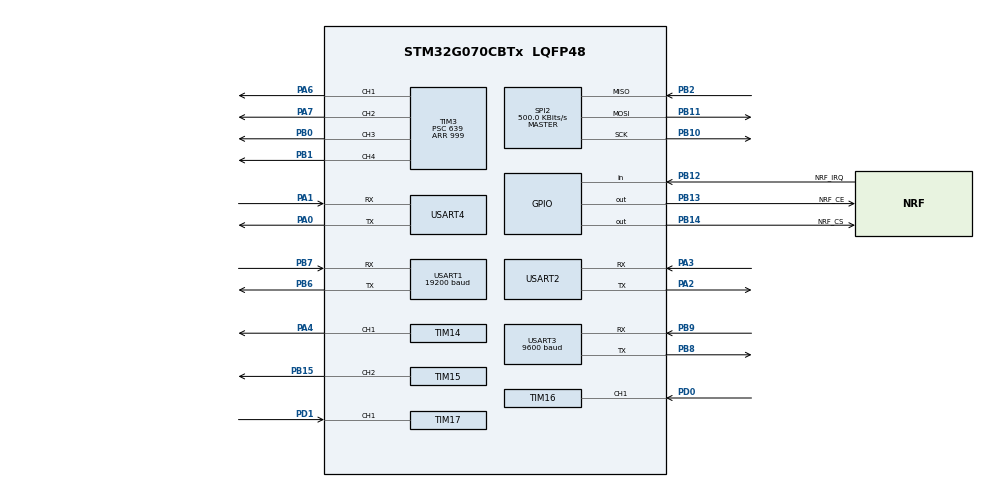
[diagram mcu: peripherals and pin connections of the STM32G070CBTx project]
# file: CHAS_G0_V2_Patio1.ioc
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Mcu.Family=STM32G0
Mcu.Name=STM32G070CBTx
Mcu.Package=LQFP48
NVIC.RTC_TAMP_IRQn=true\:0\:0\:false\:false\:true\:true\:true\:true
NVIC.TIM14_IRQn=true\:2\:0\:true\:false\:true\:true\:true\:true
NVIC.TIM15_IRQn=true\:1\:0\:true\:false\:true\:true\:true\:true
NVIC.TIM16_IRQn=true\:1\:0\:true\:false\:true\:true\:true\:true
NVIC.TIM17_IRQn=true\:1\:0\:true\:false\:true\:true\:true\:true
NVIC.TIM6_IRQn=true\:0\:0\:false\:false\:true\:true\:true\:true
NVIC.TIM7_IRQn=true\:0\:0\:false\:false\:true\:true\:true\:true
NVIC.USART1_IRQn=true\:0\:0\:false\:false\:true\:true\:true\:true
NVIC.USART2_IRQn=true\:0\:0\:false\:false\:true\:true\:true\:true
NVIC.USART3_4_IRQn=true\:0\:0\:false\:false\:true\:true\:true\:true
PA0.Mode=Asynchronous
PA0.Signal=USART4_TX
PA1.Mode=Asynchronous
PA1.Signal=USART4_RX
PA13.Mode=Serial_Wire
PA13.Signal=SYS_SWDIO
PA14-BOOT0.Mode=Serial_Wire
PA14-BOOT0.Signal=SYS_SWCLK
PA2.Mode=Asynchronous
PA2.Signal=USART2_TX
PA3.Mode=Asynchronous
PA3.Signal=USART2_RX
PA4.Signal=S_TIM14_CH1
PA6.Signal=S_TIM3_CH1
PA7.Signal=S_TIM3_CH2
PB0.Signal=S_TIM3_CH3
PB1.Signal=S_TIM3_CH4
PB10.Mode=Full_Duplex_Master
PB10.Signal=SPI2_SCK
PB11.Mode=Full_Duplex_Master
PB11.Signal=SPI2_MOSI
PB12.GPIO_Label=NRF_IRQ
PB12.GPIO_PuPd=GPIO_PULLUP
PB12.Signal=GPIO_Input
PB13.GPIO_Label=NRF_CE
PB13.GPIO_PuPd=GPIO_PULLUP
PB13.GPIO_Speed=GPIO_SPEED_FREQ_MEDIUM
PB13.Signal=GPIO_Output
PB14.GPIO_Label=NRF_CS
PB14.GPIO_PuPd=GPIO_PULLUP
PB14.GPIO_Speed=GPIO_SPEED_FREQ_MEDIUM
PB14.Signal=GPIO_Output
PB15.Signal=S_TIM15_CH2
PB2.Mode=Full_Duplex_Master
PB2.Signal=SPI2_MISO
PB6.Mode=Asynchronous
PB6.Signal=USART1_TX
PB7.Mode=Asynchronous
PB7.Signal=USART1_RX
PB8.Mode=Asynchronous
PB8.Signal=USART3_TX
PB9.Mode=Asynchronous
PB9.Signal=USART3_RX
PC14-OSC32_IN\ (PC14).Mode=LSE-External-Oscillator
PC14-OSC32_IN\ (PC14).Signal=RCC_OSC32_IN
PC15-OSC32_OUT\ (PC15).Mode=LSE-External-Oscillator
PC15-OSC32_OUT\ (PC15).Signal=RCC_OSC32_OUT
PD0.Signal=S_TIM16_CH1
PD1.Signal=S_TIM17_CH1
PF0-OSC_IN\ (PF0).Mode=HSE-External-Oscillator
PF0-OSC_IN\ (PF0).Signal=RCC_OSC_IN
PF1-OSC_OUT\ (PF1).Mode=HSE-External-Oscillator
PF1-OSC_OUT\ (PF1).Signal=RCC_OSC_OUT
ProjectManager.HeapSize=0x200
ProjectManager.StackSize=0x400
ProjectManager.TargetToolchain=MDK-ARM V5.32
RCC.ADCFreq_Value=64000000
RCC.AHBFreq_Value=64000000
RCC.CortexFreq_Value=64000000
RCC.EXTERNAL_CLOCK_VALUE=48000
RCC.HCLKFreq_Value=64000000
RCC.HSE_VALUE=8000000
RCC.HSI_VALUE=16000000
RCC.PLLN=16
RCC.PLLSourceVirtual=RCC_PLLSOURCE_HSE
RCC.RTCClockSelection=RCC_RTCCLKSOURCE_LSE
RCC.SYSCLKFreq_VALUE=64000000
RCC.SYSCLKSource=RCC_SYSCLKSOURCE_PLLCLK
RCC.VCOOutputFreq_Value=128000000
RTC.Hours=5
RTC.Month=RTC_MONTH_JUNE
RTC.WakeUpClock-WakeUp=RTC_WAKEUPCLOCK_RTCCLK_DIV16
RTC.WakeUpCounter-WakeUp=512
RTC.WeekDay=RTC_WEEKDAY_TUESDAY
RTC.Year=22
SH.S_TIM14_CH1.0=TIM14_CH1,PWM Generation1 CH1
SH.S_TIM15_CH2.0=TIM15_CH2,PWM Generation2 CH2
SH.S_TIM16_CH1.0=TIM16_CH1,Input_Capture1_from_TI1
SH.S_TIM17_CH1.0=TIM17_CH1,Input_Capture1_from_TI1
SH.S_TIM3_CH1.0=TIM3_CH1,PWM Generation1 CH1
SH.S_TIM3_CH2.0=TIM3_CH2,PWM Generation2 CH2
SH.S_TIM3_CH3.0=TIM3_CH3,PWM Generation3 CH3
SH.S_TIM3_CH4.0=TIM3_CH4,PWM Generation4 CH4
SPI2.BaudRatePrescaler=SPI_BAUDRATEPRESCALER_128
SPI2.CalculateBaudRate=500.0 KBits/s
SPI2.DataSize=SPI_DATASIZE_8BIT
SPI2.Direction=SPI_DIRECTION_2LINES
SPI2.Mode=SPI_MODE_MASTER
SPI2.VirtualType=VM_MASTER
TIM14.Channel=TIM_CHANNEL_1
TIM14.Period=6999
TIM14.Prescaler=639
TIM15.Channel-PWM\ Generation2\ CH2=TIM_CHANNEL_2
TIM15.Period=1999
TIM15.Prescaler=639
TIM16.Channel=TIM_CHANNEL_1
TIM16.ICFilter_CH1=0xF
TIM16.Period=8999
TIM16.Prescaler=639
TIM17.Channel=TIM_CHANNEL_1
TIM17.ICFilter_CH1=0xF
TIM17.Period=8999
TIM17.Prescaler=639
TIM3.Channel-PWM\ Generation1\ CH1=TIM_CHANNEL_1
TIM3.Channel-PWM\ Generation2\ CH2=TIM_CHANNEL_2
TIM3.Channel-PWM\ Generation3\ CH3=TIM_CHANNEL_3
TIM3.Channel-PWM\ Generation4\ CH4=TIM_CHANNEL_4
TIM3.Period=999
TIM3.Prescaler=639
TIM6.Period=999
TIM6.Prescaler=6399
TIM7.Period=499
TIM7.Prescaler=6399
USART1.BaudRate=19200
USART1.VirtualMode-Asynchronous=VM_ASYNC
USART2.VirtualMode-Asynchronous=VM_ASYNC
USART3.BaudRate=9600
USART3.VirtualMode-Asynchronous=VM_ASYNC
USART4.VirtualMode-Asynchronous=VM_ASYNC
VP_RTC_VS_RTC_Activate.Mode=RTC_Enabled
VP_RTC_VS_RTC_Calendar.Mode=RTC_Calendar
VP_RTC_VS_RTC_WakeUp_intern.Mode=WakeUp
VP_SYS_VS_DBSignals.Mode=DisableDeadBatterySignals
VP_TIM14_VS_ClockSourceINT.Mode=Enable_Timer
VP_TIM16_VS_ClockSourceINT.Mode=Enable_Timer
VP_TIM17_VS_ClockSourceINT.Mode=Enable_Timer
VP_TIM6_VS_ClockSourceINT.Mode=Enable_Timer
VP_TIM7_VS_ClockSourceINT.Mode=Enable_Timer
board=custom

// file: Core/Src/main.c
/* USER CODE BEGIN Header */
/**
  ******************************************************************************
  * @file           : main.c
  * @brief          : Main program body
  ******************************************************************************
  * @attention
  *
  * Copyright (c) 2022 STMicroelectronics.
  * All rights reserved.
  *
  * This software is licensed under terms that can be found in the LICENSE file
  * in the root directory of this software component.
  * If no LICENSE file comes with this software, it is provided AS-IS.
  *
  ******************************************************************************
  */
/* USER CODE END Header */
#include "main.h"
#include "rtc.h"
#include "spi.h"
#include "tim.h"
#include "usart.h"
#include "gpio.h"

/* USER CODE BEGIN Includes */
#include "usonic.h"
#include "motion.h"
#include "my_robot.h"
#include "nrf.h"
#include "elapse.h"
#include "stdio.h"
/* USER CODE END Includes */

/* USER CODE BEGIN PV */
extern IMU MyIMU;
extern ESC_COM G0;
extern NRF_COM MyNRF;
extern uint8_t Rx3Buffer[IMUBUFFERSIZE];
extern uint8_t Rx2Buffer[CVBUFFERSIZE];
extern uint8_t Rx1Buffer[BLBUFFERSIZE];

extern int16_t nrf_trans_cmd[7];         //转换后数据
extern uint8_t button[26];									//按键

/* USER CODE END PV */

void SystemClock_Config(void);

/* USER CODE BEGIN 0 */
#ifdef __GNUC__
  /* With GCC/RAISONANCE, small printf (option LD Linker->Libraries->Small printf
     set to 'Yes') calls __io_putchar() */
  #define PUTCHAR_PROTOTYPE int __io_putchar(int ch)
#else
  #define PUTCHAR_PROTOTYPE int fputc(int ch, FILE *f)
#endif /* __GNUC__ */
/**
  * @brief  Retargets the C library printf function to the USART.
  * @param  None
  * @retval None
  */
PUTCHAR_PROTOTYPE
{
  /* Place your implementation of fputc here */
  /* e.g. write a character to the EVAL_COM1 and Loop until the end of transmission */
  HAL_UART_Transmit(&huart1, (uint8_t *)&ch, 1, 0xFFFF);//更具实际情况更改驱动

  return ch;
}
/* USER CODE END 0 */

int main(void)
{

  /* MCU Configuration--------------------------------------------------------*/

  /* Reset of all peripherals, Initializes the Flash interface and the Systick. */
   HAL_Init();

  /* Configure the system clock */
  SystemClock_Config();

  /* Initialize all configured peripherals */
  MX_GPIO_Init();
  MX_RTC_Init();
  MX_SPI2_Init();
  MX_TIM3_Init();
  MX_TIM14_Init();
  MX_TIM15_Init();
  MX_TIM16_Init();
  MX_TIM17_Init();
  MX_USART1_UART_Init();
  MX_USART2_UART_Init();
  MX_USART3_UART_Init();
  MX_USART4_UART_Init();
  MX_TIM7_Init();
  MX_TIM6_Init();
  /* USER CODE BEGIN 2 */
	IMU_Init();
	CV_init();
	LL_mDelay(50);
	TIM14->CCR1 = 5;//开启超声波
	TIM15->CCR2 = 55;

	IMU_Command(ANGLE_INIT);
	Angle_init(); //开启角度环
	nrf_init();
//	RTC_Init(); //等待电脑数据

  /* USER CODE END 2 */

  /* Infinite loop */
  while (1)
  {

    /* USER CODE BEGIN 3 */
		IMU_Receive(Rx3Buffer);
		Mean_Filter();
		Car_Drive(MyNRF.Mode);

  }
  /* USER CODE END 3 */
}

void SystemClock_Config(void)
{
  LL_FLASH_SetLatency(LL_FLASH_LATENCY_2);
  while(LL_FLASH_GetLatency() != LL_FLASH_LATENCY_2)
  {
  }

  /* HSE configuration and activation */
  LL_RCC_HSE_Enable();
  while(LL_RCC_HSE_IsReady() != 1)
  {
  }

  LL_PWR_EnableBkUpAccess();
  /* LSE configuration and activation */
  LL_RCC_LSE_SetDriveCapability(LL_RCC_LSEDRIVE_LOW);
  LL_RCC_LSE_Enable();
  while(LL_RCC_LSE_IsReady() != 1)
  {
  }

  /* Main PLL configuration and activation */
  LL_RCC_PLL_ConfigDomain_SYS(LL_RCC_PLLSOURCE_HSE, LL_RCC_PLLM_DIV_1, 16, LL_RCC_PLLR_DIV_2);
  LL_RCC_PLL_Enable();
  LL_RCC_PLL_EnableDomain_SYS();
  while(LL_RCC_PLL_IsReady() != 1)
  {
  }

  /* Set AHB prescaler*/
  LL_RCC_SetAHBPrescaler(LL_RCC_SYSCLK_DIV_1);

  /* Sysclk activation on the main PLL */
  LL_RCC_SetSysClkSource(LL_RCC_SYS_CLKSOURCE_PLL);
  while(LL_RCC_GetSysClkSource() != LL_RCC_SYS_CLKSOURCE_STATUS_PLL)
  {
  }

  /* Set APB1 prescaler*/
  LL_RCC_SetAPB1Prescaler(LL_RCC_APB1_DIV_1);
  /* Update CMSIS variable (which can be updated also through SystemCoreClockUpdate function) */
  LL_SetSystemCoreClock(64000000);

   /* Update the time base */
  if (HAL_InitTick (TICK_INT_PRIORITY) != HAL_OK)
  {
    Error_Handler();
  }
}

void Error_Handler(void)
{
  __disable_irq();
  while (1)
  {
  }
}
